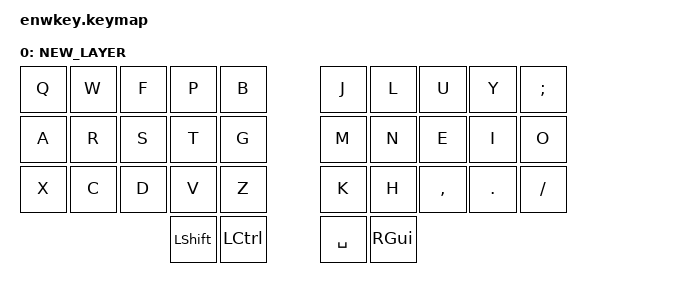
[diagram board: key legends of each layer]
/*
 * Copyright (c) 2020 The ZMK Contributors
 *
 * SPDX-License-Identifier: MIT
 */

#include <dt-bindings/zmk/mouse.h>
#include <behaviors.dtsi>
#include <dt-bindings/zmk/bt.h>
#include <dt-bindings/zmk/keys.h>

&mt {
    tapping-term-ms = <200>;
    flavor = "tap-preferred";
};

&sk {
    release-after-ms = <2000>;
    quick-release;
};

/ {
    combos {
        compatible = "zmk,combos";

        combo_esc {
            timeout-ms = <50>;
            key-positions = <17 18>;
            bindings = <&kp ESC>;
        };

        combo_bksc {
            timeout-ms = <20>;
            key-positions = <23 24>;
            bindings = <&to 4>;
        };

        combo_ent {
            timeout-ms = <20>;
            key-positions = <14 15>;
            bindings = <&kp RET>;
        };

        combo_1 {
            timeout-ms = <50>;
            key-positions = <26 27>;
            bindings = <&to 2>;
        };

        combo_2 {
            timeout-ms = <50>;
            key-positions = <13 14>;
            bindings = <&to 3>;
        };

        combo_3 {
            timeout-ms = <50>;
            key-positions = <4 5>;
            bindings = <&kp BKSP>;
        };

        caps {
            timeout-ms = <50>;
            key-positions = <24 25>;
            bindings = <&kp CAPS>;
        };

        rshift {
            timeout-ms = <50>;
            key-positions = <16 17>;
            bindings = <&sk RSHIFT>;
        };

        osl {
            timeout-ms = <50>;
            key-positions = <3 5>;
            bindings = <&sl 6>;
        };

        q {
            timeout-ms = <10>;
            key-positions = <8 9>;
            bindings = <&kp Q>;
            layers = <1>;
        };

        y {
            timeout-ms = <20>;
            key-positions = <18 19>;
            bindings = <&kp Y>;
            layers = <1>;
        };

        bslh {
            timeout-ms = <20>;
            key-positions = <12	13>;
            bindings = <&kp BSLH>;
            layers = <2>;
        };

        lbkt {
            timeout-ms = <20>;
            key-positions = <22	23>;
            bindings = <&kp LBKT>;
            layers = <2>;
        };

        plus {
            timeout-ms = <20>;
            key-positions = <8 9>;
            bindings = <&kp LS(EQUAL)>;
            layers = <3>;
        };

        prcnt {
            timeout-ms = <20>;
            key-positions = <18 19>;
            bindings = <&kp PRCNT>;
            layers = <3>;
        };

        minus {
            timeout-ms = <20>;
            key-positions = <12	13>;
            bindings = <&kp MINUS>;
            layers = <3>;
        };

        n0 {
            timeout-ms = <20>;
            key-positions = <22	23>;
            bindings = <&kp N0>;
            layers = <3>;
        };

        lalt {
            timeout-ms = <20>;
            key-positions = <8 9>;
            bindings = <&kp LALT>;
            layers = <4>;
        };

        del {
            timeout-ms = <20>;
            key-positions = <18 19>;
            bindings = <&kp DEL>;
            layers = <4>;
        };

        left {
            timeout-ms = <20>;
            key-positions = <12	13>;
            bindings = <&kp LEFT>;
            layers = <4>;
        };

        lclk {
            timeout-ms = <20>;
            key-positions = <22	23>;
            bindings = <&mkp LCLK>;
            layers = <4>;
        };
    };

    behaviors {
        hm: homerow_mods {
            compatible = "zmk,behavior-hold-tap";
            label = "HOMEROW_MODS";
            #binding-cells = <2>;
            tapping-term-ms = <200>;
            quick_tap_ms = <0>;
            flavor = "tap-preferred";
            bindings = <&kp>, <&kp>;
        };

        hs: homerow_shifts {
            compatible = "zmk,behavior-hold-tap";
            label = "HOMEROW_SHIFTS";
            #binding-cells = <2>;
            tapping-term-ms = <150>;
            quick_tap_ms = <0>;
            flavor = "balanced";
            bindings = <&kp>, <&kp>;
        };

        td: tapdance {
            compatible = "zmk,behavior-hold-tap";
            label = "TAPDANCE";
            #binding-cells = <2>;
            tapping-term-ms = <190>;
            quick_tap_ms = <0>;
            flavor = "tap-preferred";
            bindings = <&kp>, <&kp>;
        };
    };

    keymap {
        compatible = "zmk,keymap";

        NEW_LAYER {
            bindings = <
&kp Q  &kp W      &kp F      &kp P      &kp B      &kp J  &kp L  &kp U      &kp Y    &kp SEMI
&kp A  &kp R      &kp S      &kp T      &kp G      &kp M  &kp N  &kp E      &kp I    &kp O
&kp X  &kp C      &kp D      &kp V      &kp Z      &kp K  &kp H  &kp COMMA  &kp DOT  &kp FSLH
                             &kp LSHFT  &kp LCTRL  &kp SPACE  &kp RGUI
            >;
        };
    };
};

